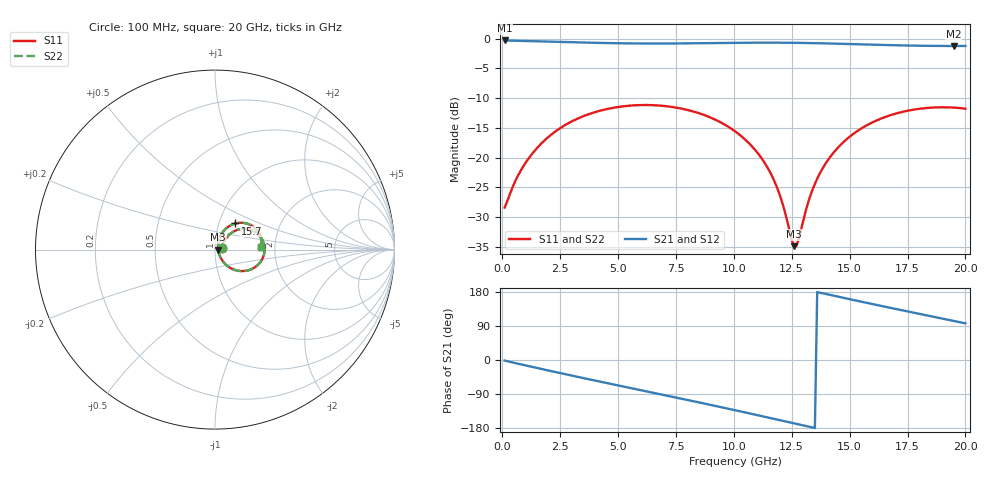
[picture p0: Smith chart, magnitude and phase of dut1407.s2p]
! Touchstone file exported from HFSS 2026.1.0
!  File:  C:/ffzhzh/LocalFiles/Ansys_Project_Files/temp_train_TSV_RDL_1407_1783352707_50076.aedt
!  Generated:  11:53:21 PM Jul  6, 2026
!  Design:  TSV_RDL
!  Project:  temp_train_TSV_RDL_1407_1783352707_50076
! Variables:
!  h_bsmrdl = 4.11um
!  h_ox = 20um
!  h_rdl = 5um
!  h_sub = 56.4um
!  h_tmrdl = 2.31um
!  h_tsv = 56.4um
!  h_via = 3um
!  l_bsmrdl = 676.33um
!  l_sub = 4642.57um
!  l_tmrdl = 532.14um
!  m_sub = 200um
!  pitch = 21.83um
!  r_tsv = 5.92um
!  s_tmrdl = 10um
!  w_bsmrdl = 15um
!  w_sub = 500um
!  w_tmrdl = 13.34um
!  x_tsv_center1 = 538.81um
!  x_tsv_center2 = 1230.14um
!  x_tsv_center3 = 1775.62um
!  x_tsv_center4 = 2466.95um
!  x_tsv_center5 = 3012.43um
!  x_tsv_center6 = 3703.76um
# GHz S MA R 50.000000
! Terminal data exported
! Port[1] = TM_RDL1_1_T1
! Port[2] = TM_RDL5_1_T1
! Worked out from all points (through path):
!   200 points, 100 MHz to 20 GHz, reference 50 ohm
!   highest |S21| = -0.33 dB at 100 MHz (marker M1); lowest = -1.3 dB at 19.5 GHz (marker M2)
!   group delay of S21, straight-line fit = 36.6 ps
!   lowest |S11| = -34.9 dB at 12.6 GHz (marker M3), VSWR 1.04, Z = 51.8 - j0.11 ohm
!   |S11| at or under -10 dB: start of sweep to end of sweep
!   |S22| runs from -35.0 to -11.2 dB; largest |S21 - S12| = 1.6e-14
!   S11 on the Smith chart (normalised r, x): 100 MHz: 1.08, +0.02; 15.7 GHz: 1.20, +0.36; 20 GHz: 1.69, +0.06
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0.1  0.03804 13.1  0.9631 -1.5  0.9631 -1.5  0.03804 13.1
! Gamma 0 0 0 0
! Port Impedance 50 0 50 0
0.7  0.07184 42.6  0.9547 -10.1  0.9547 -10.1  0.07184 42.6
1.4  0.1142 46.2  0.9474 -19.7  0.9474 -19.7  0.1142 46.2
2.3  0.166 41.4  0.9378 -31.8  0.9378 -31.8  0.1661 41.4
3.5  0.2225 30.2  0.925 -47.7  0.925 -47.7  0.2225 30.1
5.1  0.2675 12.7  0.9119 -68.4  0.9119 -68.4  0.2676 12.6
6.8  0.2733 -6.8  0.9076 -90.0  0.9076 -90.0  0.2734 -6.9
8.5  0.2355 -26.5  0.9127 -111.9  0.9127 -111.9  0.2355 -26.6
10.1  0.1635 -44.6  0.9203 -133.1  0.9203 -133.1  0.1636 -44.8
10.9  0.1171 -52.4  0.9227 -143.9  0.9227 -143.9  0.1171 -52.6
11.6  0.07299 -56.1  0.9231 -153.5  0.9231 -153.5  0.07299 -56.4
12.1  0.04126 -51.2  0.9222 -160.3  0.9222 -160.3  0.04121 -51.6
12.6  0.01801 -3.4  0.9202 -167.1  0.9202 -167.1  0.01779 -3.8
12.8  0.02057 34.7  0.9192 -169.9  0.9192 -169.9  0.02034 34.8
13.4  0.05381 67.2  0.915 -178.0  0.915 -178.0  0.05368 67.3
13.8  0.07895 68.4  0.9115 176.5  0.9115 176.5  0.07885 68.4
14.3  0.1097 65.7  0.9065 169.8  0.9065 169.8  0.1096 65.6
15.7  0.1847 52.0  0.8907 151.3  0.8907 151.3  0.1847 51.9
16.7  0.2248 40.9  0.88 138.4  0.88 138.4  0.2247 40.8
18.1  0.2581 25.1  0.8692 120.6  0.8692 120.6  0.258 24.9
19.5  0.2629 9.3  0.8654 103.0  0.8654 103.0  0.2628 9.1
20  0.2575 3.7  0.8658 96.7  0.8658 96.7  0.2575 3.4
